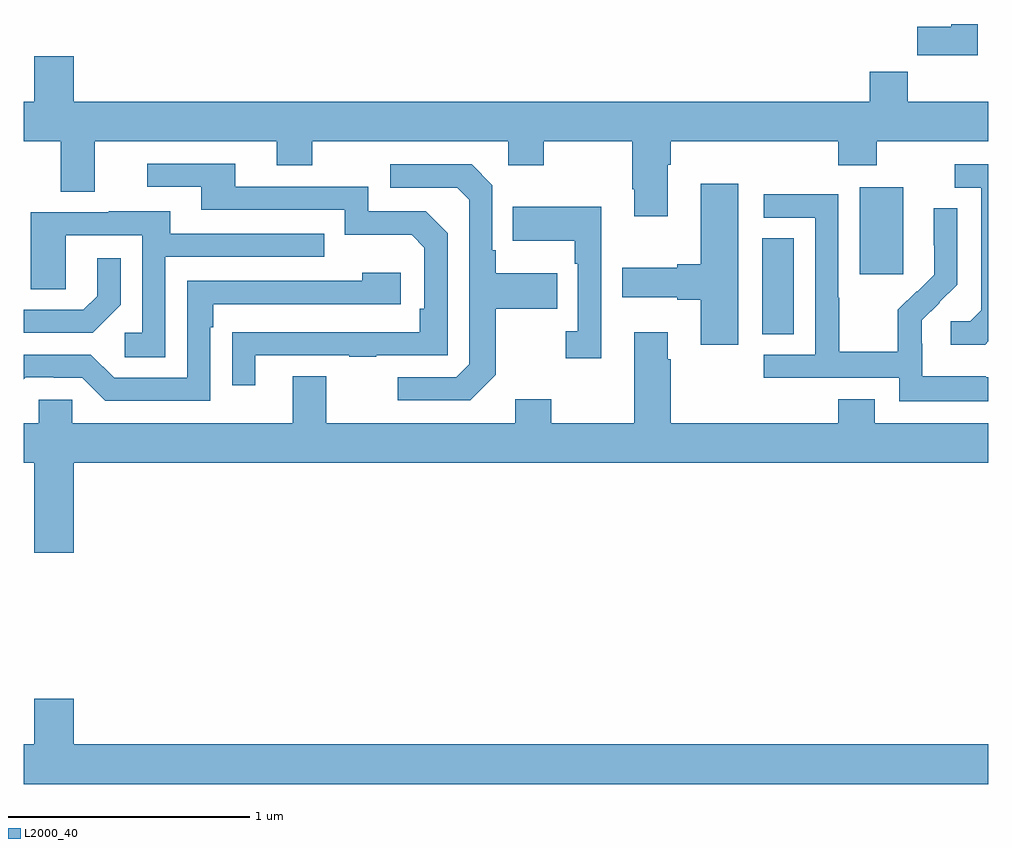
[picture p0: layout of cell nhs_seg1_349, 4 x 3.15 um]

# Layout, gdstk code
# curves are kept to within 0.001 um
import gdstk
lib = gdstk.Library(unit=1e-6, precision=1e-09)
def R(c, l, rs):  # rectangles x0, y0, x1, y1
    for r in rs: c.add(gdstk.rectangle(r[:2], r[2:], *l))
def P(c, l, *ps):  # polygons
    for p in ps: c.add(gdstk.Polygon(p, *l))
L2000_40 = (2000, 40)

nhs_seg1_349 = lib.new_cell('nhs_seg1_349')
R(nhs_seg1_349, L2000_40, [(132.062,570.913,132.193,571.31), (132.467,571.161,132.646,571.522)])
P(nhs_seg1_349, L2000_40, [(132.955,572.199),(132.845,572.199),(132.845,572.188),(132.706,572.188),(132.706,572.07),(132.955,572.07)],
  [(131.671,571.616),(131.684,571.616),(131.684,571.712),(132.377,571.712),(132.377,571.613),(132.537,571.613),(132.537,571.712),(133,571.712),(133,571.876),(132.665,571.876),(132.665,572),(132.509,572),(132.509,571.876),(129.208,571.876),(129.208,572.065),(129.044,572.065),(129.044,571.876),(129,571.876),(129,571.712),(129.155,571.712),(129.155,571.504),(129.295,571.504),(129.295,571.712),(130.049,571.712),(130.049,571.613),(130.197,571.613),(130.197,571.712),(131.01,571.712),(131.01,571.613),(131.157,571.613),(131.157,571.712),(131.524,571.712),(131.524,571.513),(131.531,571.513),(131.531,571.401),(131.671,571.401)],
  [(129.961,570.825),(130.351,570.825),(130.351,570.82),(130.463,570.82),(130.463,570.825),(130.758,570.825),(130.758,571.332),(130.668,571.422),(130.428,571.422),(130.428,571.524),(129.877,571.524),(129.877,571.62),(129.513,571.62),(129.513,571.524),(129.737,571.524),(129.737,571.428),(130.332,571.428),(130.332,571.325),(130.609,571.325),(130.662,571.272),(130.662,571.018),(130.642,571.018),(130.642,570.921),(129.865,570.92),(129.865,570.702),(129.961,570.702)],
  [(130.957,570.745),(130.957,571.018),(131.213,571.018),(131.213,571.165),(130.957,571.165),(130.957,571.261),(130.944,571.261),(130.944,571.53),(130.857,571.617),(130.521,571.617),(130.521,571.521),(130.797,571.521),(130.848,571.47),(130.848,570.789),(130.794,570.735),(130.551,570.735),(130.551,570.639),(130.851,570.639)],
  [(133,570.883),(133,571.617),(132.861,571.617),(132.861,571.521),(132.971,571.521),(132.971,571.013),(132.924,570.966),(132.843,570.966),(132.843,570.869),(132.986,570.869)],
  [(131.962,571.537),(131.807,571.537),(131.807,571.202),(131.711,571.202),(131.711,571.189),(131.481,571.189),(131.481,571.067),(131.711,571.067),(131.711,571.055),(131.807,571.055),(131.807,570.87),(131.962,570.87)],
  [(133,570.735),(132.989,570.735),(132.989,570.739),(132.726,570.739),(132.726,570.873),(132.724,570.873),(132.724,570.97),(132.87,571.118),(132.87,571.436),(132.774,571.436),(132.774,571.282),(132.776,571.282),(132.776,571.16),(132.705,571.089),(132.702,571.092),(132.625,571.015),(132.625,570.841),(132.381,570.841),(132.381,571.064),(132.378,571.064),(132.378,571.494),(132.069,571.494),(132.069,571.395),(132.282,571.395),(132.282,570.828),(132.069,570.828),(132.069,570.732),(132.63,570.732),(132.63,570.635),(133,570.635)],
  [(131.394,571.441),(131.029,571.441),(131.029,571.301),(131.286,571.301),(131.286,571.205),(131.298,571.205),(131.298,570.926),(131.247,570.926),(131.247,570.813),(131.394,570.813)],
  [(129.588,571.233),(130.247,571.233),(130.247,571.329),(129.607,571.329),(129.607,571.423),(129.353,571.423),(129.353,571.419),(129.029,571.419),(129.029,571.099),(129.174,571.099),(129.174,571.323),(129.492,571.323),(129.492,570.918),(129.42,570.918),(129.42,570.817),(129.588,570.817)],
  [(129.402,571.034),(129.402,571.228),(129.305,571.228),(129.305,571.071),(129.248,571.014),(129,571.014),(129,570.918),(129.286,570.918)],
  [(129.774,570.941),(129.787,570.941),(129.787,571.038),(130.564,571.038),(130.564,571.168),(130.403,571.168),(130.403,571.134),(129.678,571.134),(129.678,570.732),(129.375,570.732),(129.279,570.828),(129,570.828),(129,570.726),(129.009,570.735),(129.125,570.735),(129.125,570.732),(129.243,570.732),(129.339,570.636),(129.774,570.636)],
  [(129.208,570.38),(133,570.38),(133,570.544),(132.529,570.544),(132.529,570.643),(132.377,570.643),(132.377,570.544),(131.684,570.544),(131.684,570.809),(131.671,570.809),(131.671,570.922),(131.531,570.922),(131.531,570.544),(131.187,570.544),(131.187,570.643),(131.039,570.643),(131.039,570.544),(130.255,570.544),(130.255,570.739),(130.115,570.739),(130.115,570.544),(129.201,570.544),(129.201,570.642),(129.063,570.642),(129.063,570.544),(129,570.544),(129,570.38),(129.044,570.38),(129.044,570.006),(129.208,570.006)],
  [(133,569.212),(129.208,569.212),(129.208,569.401),(129.044,569.401),(129.044,569.212),(129,569.212),(129,569.048),(133,569.048)])

lib.write_gds('nhs_seg1_349.gds')
